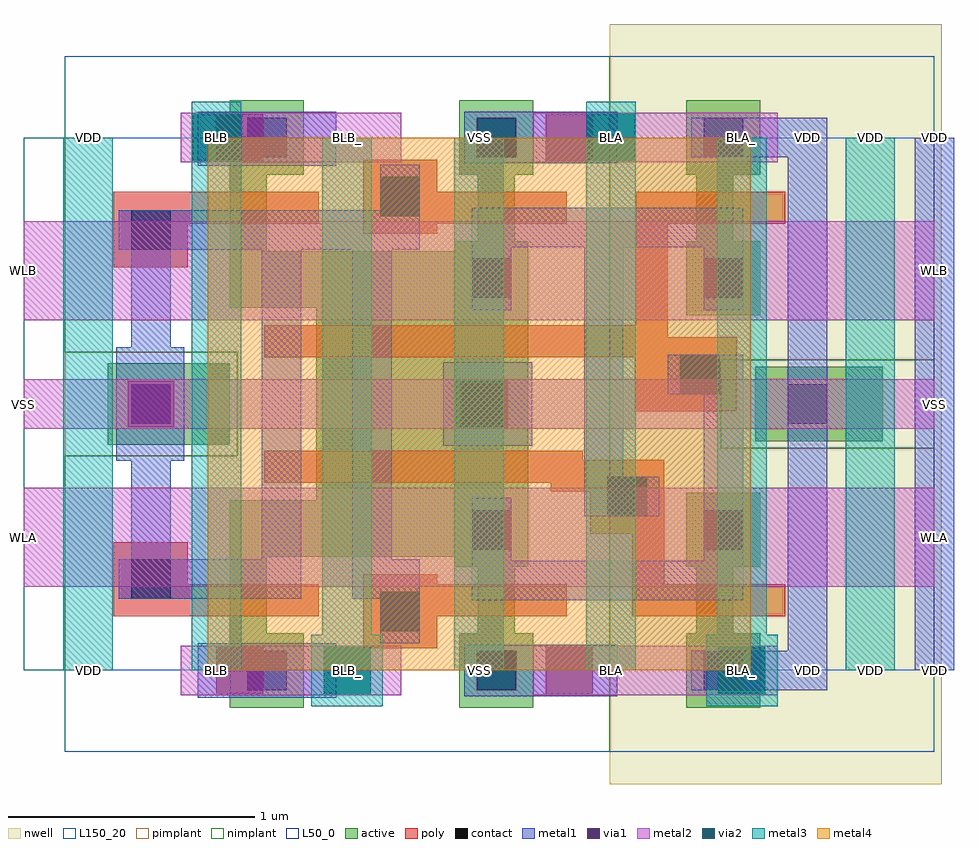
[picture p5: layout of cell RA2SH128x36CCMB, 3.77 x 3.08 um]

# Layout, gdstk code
import gdstk
lib = gdstk.Library(unit=1e-6, precision=1e-09)
def R(c, l, rs):  # rectangles x0, y0, x1, y1
    for r in rs: c.add(gdstk.rectangle(r[:2], r[2:], *l))
def A(c, l, x, y, w, h, nx, ny, dx, dy):  # array of equal rectangles
    R(c, l, [(x+i*dx, y+j*dy, x+i*dx+w, y+j*dy+h) for i in range(nx) for j in range(ny)])
def P(c, l, *ps):  # polygons
    for p in ps: c.add(gdstk.Polygon(p, *l))
nwell = (3, 0)
active = (6, 0)
poly = (17, 0)
pimplant = (25, 0)
nimplant = (26, 0)
contact = (30, 0)
metal1 = (31, 0)
metal2 = (32, 0)
metal3 = (33, 0)
metal4 = (34, 0)
L50_0 = (50, 0)
via1 = (51, 0)
via2 = (52, 0)
L150_20 = (150, 20)

ra2sh128x36ccmb = lib.new_cell('RA2SH128x36CCMB')
R(ra2sh128x36ccmb, nwell, [(2.375,-0.46,3.72,2.62)])
R(ra2sh128x36ccmb, active, [(0.34,0.915,0.835,1.245), (2.965,0.93,3.48,1.23)])
P(ra2sh128x36ccmb, active, [(2.685,0.72),(2.685,0.42),(2.725,0.42),(2.725,0.15),(2.685,0.15),(2.685,-0.15),(2.985,-0.15),(2.985,0.15),(2.875,0.15),(2.875,0.42),(2.985,0.42),(2.985,0.72)],
  [(2.685,2.31),(2.685,2.01),(2.725,2.01),(2.725,1.74),(2.685,1.74),(2.685,1.44),(2.985,1.44),(2.985,1.74),(2.875,1.74),(2.875,2.01),(2.985,2.01),(2.985,2.31)],
  [(1.765,2.31),(1.765,2.01),(1.84,2.01),(1.84,1.74),(1.745,1.74),(1.745,1.7),(0.985,1.7),(0.985,2.01),(1.135,2.01),(1.135,2.31),(0.835,2.31),(0.835,1.47),(1.185,1.47),(1.185,0.69),(0.835,0.69),(0.835,-0.15),(1.135,-0.15),(1.135,0.15),(0.985,0.15),(0.985,0.46),(1.745,0.46),(1.745,0.42),(1.84,0.42),(1.84,0.15),(1.765,0.15),(1.765,-0.15),(2.065,-0.15),(2.065,0.15),(1.99,0.15),(1.99,0.42),(2.045,0.42),(2.045,1.74),(1.99,1.74),(1.99,2.01),(2.065,2.01),(2.065,2.31)])
P(ra2sh128x36ccmb, poly, [(1.375,0.39),(1.375,0.09),(1.675,0.09),(1.675,0.22),(2.2,0.22),(2.2,0.35),(1.675,0.35),(1.675,0.39)],
  [(0.365,0.52),(0.365,0.22),(1.195,0.22),(1.195,0.35),(0.665,0.35),(0.665,0.52)],
  [(0.975,0.89),(0.975,0.76),(2.135,0.76),(2.135,0.725),(2.295,0.725),(2.295,0.555),(2.465,0.555),(2.465,0.22),(3.085,0.22),(3.085,0.35),(2.595,0.35),(2.595,0.855),(2.265,0.855),(2.265,0.89)],
  [(0.365,1.94),(0.365,1.635),(0.665,1.635),(0.665,1.81),(1.195,1.81),(1.195,1.94)],
  [(2.48,1.94),(2.48,1.4),(0.975,1.4),(0.975,1.27),(2.475,1.27),(2.475,1.05),(2.89,1.05),(2.89,1.35),(2.61,1.35),(2.61,1.81),(3.085,1.81),(3.085,1.94)],
  [(1.375,2.07),(1.375,1.77),(1.675,1.77),(1.675,1.81),(2.2,1.81),(2.2,1.94),(1.675,1.94),(1.675,2.07)])
R(ra2sh128x36ccmb, pimplant, [(0.165,0.87,0.865,1.29)])
P(ra2sh128x36ccmb, pimplant, [(2.375,2.49),(2.375,-0.33),(3.69,-0.33),(3.69,0.9),(2.825,0.9),(2.825,1.26),(3.69,1.26),(3.69,2.49)])
R(ra2sh128x36ccmb, nimplant, [(2.825,0.9,3.69,1.26)])
P(ra2sh128x36ccmb, nimplant, [(0.165,2.49),(0.165,1.29),(0.865,1.29),(0.865,0.87),(0.165,0.87),(0.165,-0.33),(2.375,-0.33),(2.375,2.49)])
R(ra2sh128x36ccmb, contact, [(0.905,-0.08,1.065,0.08), (1.835,-0.08,1.995,0.08), (2.755,-0.08,2.915,0.08), (1.445,0.16,1.605,0.32), (0.435,0.29,0.595,0.45), (1.815,0.49,1.975,0.65), (2.755,0.49,2.915,0.65), (2.365,0.625,2.525,0.785), (0.435,1,0.595,1.16), (1.785,1,1.945,1.16), (3.095,1,3.255,1.16), (2.66,1.12,2.82,1.28), (1.815,1.51,1.975,1.67), (2.755,1.51,2.915,1.67), (0.435,1.705,0.595,1.865), (1.445,1.84,1.605,2), (0.905,2.08,1.065,2.24), (1.835,2.08,1.995,2.24), (2.755,2.08,2.915,2.24)])
R(ra2sh128x36ccmb, metal1, [(0.705,-0.11,1.265,0.11), (1.785,-0.105,2.405,0.105), (3.61,0,3.77,2.16), (1.7,0.91,2.06,1.25), (0.705,2.045,1.265,2.265), (1.785,2.055,2.405,2.265)])
P(ra2sh128x36ccmb, metal1, [(2.61,1.28),(2.61,1.12),(2.755,1.12),(2.755,0.445),(1.975,0.445),(1.975,0.7),(1.815,0.7),(1.815,0.285),(2.915,0.285),(2.915,1.28)],
  [(1.815,1.875),(1.815,1.46),(1.975,1.46),(1.975,1.715),(2.27,1.715),(2.27,0.625),(2.575,0.625),(2.575,0.785),(2.43,0.785),(2.43,1.715),(2.755,1.715),(2.755,1.46),(2.915,1.46),(2.915,1.875)],
  [(0.965,1.08),(0.965,0.45),(0.595,0.45),(0.595,0.85),(0.65,0.85),(0.65,1.08),(0.375,1.08),(0.375,0.85),(0.435,0.85),(0.435,0.45),(0.385,0.45),(0.385,0.29),(1.125,0.29),(1.125,1.08)],
  [(1.33,1.08),(1.33,0.29),(1.445,0.29),(1.445,0.11),(1.605,0.11),(1.605,0.45),(1.49,0.45),(1.49,1.08)],
  [(1.445,2.05),(1.445,1.865),(0.385,1.865),(0.385,1.705),(0.435,1.705),(0.435,1.31),(0.375,1.31),(0.375,1.08),(0.65,1.08),(0.65,1.31),(0.595,1.31),(0.595,1.705),(0.965,1.705),(0.965,1.08),(1.125,1.08),(1.125,1.705),(1.33,1.705),(1.33,1.08),(1.49,1.08),(1.49,1.705),(1.605,1.705),(1.605,2.05)],
  [(2.705,2.24),(2.705,2.08),(3.095,2.08),(3.095,0.08),(2.705,0.08),(2.705,-0.08),(3.255,-0.08),(3.255,2.24)])
R(ra2sh128x36ccmb, metal2, [(0.635,-0.1,1.53,0.1), (2.065,-0.1,3.055,0.1), (0,0.34,3.69,0.74), (0,0.98,3.69,1.18), (0,1.42,3.69,1.82), (0.635,2.06,1.53,2.26), (2.065,2.06,3.055,2.26)])
A(ra2sh128x36ccmb, metal3, 0.16, 0, 0.2, 2.16, 3, 1, 1.585, 0)
R(ra2sh128x36ccmb, metal3, [(0.68,0,0.88,2.305), (2.28,0,2.48,2.305)])
P(ra2sh128x36ccmb, metal3, [(1.21,2.16),(1.21,0.145),(1.165,0.145),(1.165,-0.145),(1.455,-0.145),(1.455,0.145),(1.41,0.145),(1.41,2.16)],
  [(2.81,2.16),(2.81,0.145),(2.765,0.145),(2.765,-0.145),(3.055,-0.145),(3.055,0.145),(3.01,0.145),(3.01,2.16)])
R(ra2sh128x36ccmb, metal4, [(0.745,0,2.945,2.16)])
P(ra2sh128x36ccmb, L50_0, [(0.165,2.49),(0.165,2.16),(0,2.16),(0,0),(0.165,0),(0.165,-0.33),(3.69,-0.33),(3.69,2.49)])
R(ra2sh128x36ccmb, via1, [(0.78,-0.095,0.97,0.095), (2.115,-0.095,2.305,0.095), (0.42,0.985,0.61,1.175), (1.77,0.985,1.96,1.175), (0.78,2.065,0.97,2.255), (2.115,2.065,2.305,2.255)])
R(ra2sh128x36ccmb, via2, [(1.215,-0.095,1.405,0.095), (2.815,-0.095,3.005,0.095), (1.75,0.985,1.94,1.175), (0.685,2.065,0.875,2.255), (2.285,2.065,2.475,2.255)])
R(ra2sh128x36ccmb, L150_20, [(0,0,3.69,2.16)])
ra2sh128x36ccmb.add(gdstk.Label('WLB', (0,1.62), layer=132, texttype=0))
ra2sh128x36ccmb.add(gdstk.Label('WLA', (0,0.54), layer=132, texttype=0))
ra2sh128x36ccmb.add(gdstk.Label('VSS', (0,1.08), layer=132, texttype=0))
ra2sh128x36ccmb.add(gdstk.Label('WLB', (3.69,1.62), layer=132, texttype=0))
ra2sh128x36ccmb.add(gdstk.Label('VSS', (3.69,1.08), layer=132, texttype=0))
ra2sh128x36ccmb.add(gdstk.Label('WLA', (3.69,0.54), layer=132, texttype=0))
ra2sh128x36ccmb.add(gdstk.Label('VDD', (3.69,2.16), layer=131, texttype=0))
ra2sh128x36ccmb.add(gdstk.Label('VDD', (3.69,0), layer=131, texttype=0))
ra2sh128x36ccmb.add(gdstk.Label('BLA_', (2.91,0), layer=133, texttype=0))
ra2sh128x36ccmb.add(gdstk.Label('VDD', (3.175,0), layer=131, texttype=0))
ra2sh128x36ccmb.add(gdstk.Label('VSS', (1.845,0), layer=133, texttype=0))
ra2sh128x36ccmb.add(gdstk.Label('VDD', (1.845,0), layer=134, texttype=0))
ra2sh128x36ccmb.add(gdstk.Label('BLB', (0.78,0), layer=133, texttype=0))
ra2sh128x36ccmb.add(gdstk.Label('BLA', (2.38,0), layer=133, texttype=0))
ra2sh128x36ccmb.add(gdstk.Label('BLB_', (1.31,0), layer=133, texttype=0))
ra2sh128x36ccmb.add(gdstk.Label('VDD', (3.43,0), layer=133, texttype=0))
ra2sh128x36ccmb.add(gdstk.Label('VDD', (0.26,0), layer=133, texttype=0))
ra2sh128x36ccmb.add(gdstk.Label('VDD', (3.69,0), layer=131, texttype=0))
ra2sh128x36ccmb.add(gdstk.Label('VSS', (1.845,2.16), layer=133, texttype=0))
ra2sh128x36ccmb.add(gdstk.Label('VDD', (3.175,2.16), layer=131, texttype=0))
ra2sh128x36ccmb.add(gdstk.Label('BLA', (2.38,2.16), layer=133, texttype=0))
ra2sh128x36ccmb.add(gdstk.Label('VDD', (1.845,2.16), layer=134, texttype=0))
ra2sh128x36ccmb.add(gdstk.Label('BLB', (0.78,2.16), layer=133, texttype=0))
ra2sh128x36ccmb.add(gdstk.Label('BLA_', (2.91,2.16), layer=133, texttype=0))
ra2sh128x36ccmb.add(gdstk.Label('BLB_', (1.31,2.16), layer=133, texttype=0))
ra2sh128x36ccmb.add(gdstk.Label('VDD', (3.43,2.16), layer=133, texttype=0))
ra2sh128x36ccmb.add(gdstk.Label('VDD', (0.26,2.16), layer=133, texttype=0))
ra2sh128x36ccmb.add(gdstk.Label('VDD', (3.69,2.16), layer=131, texttype=0))

lib.write_gds('RA2SH128x36CCMB.gds')
